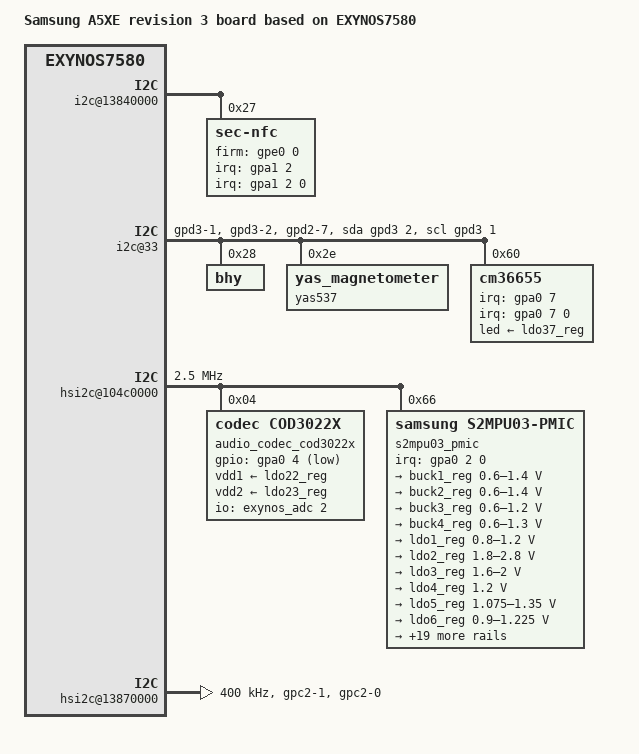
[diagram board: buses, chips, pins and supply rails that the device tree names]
/*
 * SAMSUNG A5XE board device tree source
 *
 * Copyright (c) 2014 Samsung Electronics Co., Ltd.
 *		http://www.samsung.com
 *
 * This program is free software; you can redistribute it and/or modify
 * it under the terms of the GNU General Public License version 2 as
 * published by the Free Software Foundation.
 */

/dts-v1/;
#include "exynos7580-reserve-2000MB-Ax_01.dtsi"
#include "exynos7580-a5xelte_common.dtsi"
#include "modem-carmen2-reserve-2000MB.dtsi"
#include "exynos7580-a5xelte_battery_02.dtsi"
#include "exynos7580-a5xelte_kor_skt_gpio_03.dtsi"
#include "exynos7580-a5xelte_fingerprint-sensor_00.dtsi"
#include "exynos7580-a5xelte_mst_00.dtsi"
#include "exynos7580-a5xelte_kor-tdmb_00.dtsi"

/ {
	model = "Samsung A5XE revision 3 board based on EXYNOS7580";
	model_info-chip = <7580>;
	model_info-platform = "android";
	model_info-subtype = "samsung";
	model_info-hw_rev = <3>;
	model_info-hw_rev_end = <3>;
	compatible = "samsung,exynos7580-universal7580,r01", "samsung,exynos7580";

	pinctrl@139C0000 {
		optical: optical {
			samsung,pins = "gpd3-1", "gpd3-2";
			samsung,pin-function = <0>;
			samsung,pin-pud = <0>;
			samsung,pin-drv = <0>;
		};
		cfg_i2c: cfg-i2c {
			samsung,pins = "gpd2-0", "gpd2-1";
			samsung,pin-function = <2>;
			samsung,pin-pud = <0>;
			samsung,pin-drv = <0>;
		};
		cfg_gpio: cfg-gpio {
			samsung,pins = "gpd2-0", "gpd2-1";
			samsung,pin-function = <0>;
			samsung,pin-pud = <0>;
			samsung,pin-drv = <0>;
		};
		sensor_pwr_en: sensor_pwr_en {
			samsung,pins = "gpd2-7";
			samsung,pin-function = <1>;
			samsung,pin-pud = <3>;
			samsung,pin-drv = <0>;
			samsung,pin-val = <1>;
		};
		/* Warm reset information from AP */
		pm_wrsti: pm-wrsti {
			samsung,pins = "gpe1-0";
			samsung,pin-con-pdn = <3>;
		};
		spk_amp_i2c: spk-amp-i2c {
			samsung,pins = "gpc2-1", "gpc2-0";
			samsung,pin-function = <2>;
			samsung,pin-pud = <0>;
		};
	};

	i2c@13840000 {
		status = "okay";
		samsung,i2c-sda-delay = <100>;
		samsung,i2c-max-bus-freq = <300000>;
		sec-nfc@27 {
			compatible = "sec-nfc";
			reg = <0x27>;
			interrupts = <2 0 0>;
			interrupt-parent = <&gpa1>;
			sec-nfc,nfc_pd = <&gpc3 2 0x2>;
			sec-nfc,firm-gpio = <&gpe0 0 0>;
			sec-nfc,irq-gpio = <&gpa1 2 0>;
			clkctrl-reg = <0x1046600C>;
			sec-nfc,nfc_clkreq = <&gpc3 3 0x2>;
			sec-nfc,i2c_1p8 = "ldo39";
			pinctrl-names = "default";
			pinctrl-0 = <&nfc_n5_firm &nfc_n5_clk_req &nfc_pd &nfc_int &ese_pwr_en>;
		};
	};

	i2c@33 {
		compatible = "i2c-gpio";
		gpios = <&gpd3 2 0 	/* sda */
			&gpd3 1 0>;	/* scl */

		pinctrl-names = "default";
		pinctrl-0 = <&optical &sensor_pwr_en>;
		i2c-gpio,delay-us = <2>;
		i2c-gpio,scl-output-only;
		#address-cells = <1>;
		#size-cells = <0>;
		status = "okay";

		bhy@28 {
			compatible = "bhy";
			pinctrl-names = "default";
			pinctrl-0 = <&bhy_int>;
			bhy,gpio_irq = <&gpa3 0 0x00>;
			bhy,ldo_enable = <&gpd2 7 0x01>;
			reg = <0x28>;
		};

		yas537@2e {
			compatible = "yas_magnetometer";
			reg = <0x2e>;
			yas,orientation = <1>;
			yas,softiron = <10175 594 149 1084 8422 129 79 320 10227>;
			yas,softiron_sign = <2 2 0 2 2 0 2 0 2>;
		};

		cm36655@60 {
			compatible = "cm36655";
			reg = <0x60>;
			pinctrl-names = "dafault";
			pinctrl-0 = <&ps_als &leden_gpio>;
			interrupt-parent = <&gpa0>;
			interrupts = <7 0 0>;
			cm36655,led-supply = <&ldo37_reg>;
			cm36655,irq_gpio = <&gpa0 7 0x00>;
			cm36655,pwr_en = <&gpd2 3 0x01>;
			cm36655,default_hi_thd = <18>;
			cm36655,default_low_thd = <13>;
			cm36655,cancel_hi_thd = <10>;
			cm36655,cancel_low_thd = <7>;
			cm36655,trim = <0x0003>;
		};
	};

	hsi2c@104c0000 {
		status = "okay";
		samsung,hs-mode;
		clock-frequency = <2500000>;
		samsung,hsi2c-batcher;
		#address-cells = <1>;
		#size-cells = <0>;

		audio_codec_cod3022x: cod3022x@04 {
			compatible = "codec,cod3022x";
			reg = <0x04>;
			ten-bit-address;
			vdd1-supply = <&ldo22_reg>;
			vdd2-supply = <&ldo23_reg>;
			pinctrl-names = "default";
			pinctrl-0 = <&cod3022_irq>;
			interrupt-parent = <&gpa0>;
			gpios = <&gpa0 4 0xf>;
			/* Mic Bias: 0->2.1v, 1->2.5v, 2->2.6v, 3->3.0v */
			mic-bias1-voltage = <1>;
			mic-bias2-voltage = <1>;
			use-btn-adc-mode;
			io-channels = <&exynos_adc 2>;
			io-channel-names = "adc-jack";
			#io-channel-cells = <1>;
			io-channel-ranges;
			but-zones-list = <&but_zones 226 0 240>, /* send/end */
					<&but_zones 582 241 315>, /* google */
					<&but_zones 115 316 520>, /* vol up */
					<&but_zones 114 521 900>; /* vol down */
			mic-adc-range = <1380>;
			btn-release-value = <1000>;
			mic-det-delay = <50>;
		};

		s2mpu03_pmic@66 {
			compatible = "samsung,s2mpu03-pmic";
			reg = <0x66>;
			ten-bit-address;
			interrupts = <2 0 0>;
			interrupt-parent = <&gpa0>;
			pinctrl-names = "default";
			pinctrl-0 = <&pmic_irq &pm_wrsti>;
			g3d_en = <1>; /* 1 : enable , 0 : disable */
			/*
			buck4en_pin = "etc1-3";
			buck4en_addr = "1111111.pinctrl";
			*/
			/* RTC: wtsr/smpl */
			wtsr_en = <1>; /* enable */
			smpl_en = <1>; /* enable */
			wtsr_timer_val = <3>;   /* 1000ms */
			smpl_timer_val = <0>;   /* 100ms */
			check_jigon = <0>; /* do not check jigon */
			/* RTC: If it's first boot, reset rtc to 1/1/2015 12:00:00(Thu) */
			init_time,sec = <0>;
			init_time,min = <0>;
			init_time,hour = <12>;
			init_time,mday = <1>;
			init_time,mon = <0>;
			init_time,year = <115>;
			init_time,wday = <4>;

			regulators {
				buck1_reg: BUCK1 {
					regulator-name = "cpu-cluster.1";
					regulator-min-microvolt = <600000>;
					regulator-max-microvolt = <1400000>;
					regulator-always-on;
					regulator-boot-on;
					regulator-ramp-delay = <12000>;
					regulator-initial-mode = <1>;
				};

				buck2_reg: BUCK2 {
					regulator-name = "cpu-cluster.0";
					regulator-min-microvolt = <600000>;
					regulator-max-microvolt = <1400000>;
					regulator-always-on;
					regulator-boot-on;
					regulator-ramp-delay = <12000>;
					regulator-initial-mode = <1>;
				};

				buck3_reg: BUCK3 {
					regulator-name = "vdd_intmif";
					regulator-min-microvolt = <600000>;
					regulator-max-microvolt = <1200000>;
					regulator-always-on;
					regulator-boot-on;
					regulator-ramp-delay = <12000>;
					regulator-initial-mode = <1>;
				};

				buck4_reg: BUCK4 {
					regulator-name = "vdd_g3d";
					regulator-min-microvolt = <600000>;
					regulator-max-microvolt = <1300000>;
					regulator-always-on;
					regulator-boot-on;
					regulator-ramp-delay = <12000>;
					regulator-initial-mode = <1>;
				};

				ldo1_reg: LDO1 {
					regulator-name = "vdd_ldo1";
					regulator-min-microvolt = <800000>;
					regulator-max-microvolt = <1200000>;
					regulator-always-on;
					regulator-ramp-delay = <12000>;
					regulator-initial-mode = <3>;
				};

				ldo2_reg: LDO2 {
					regulator-name = "vqmmc";
					regulator-min-microvolt = <1800000>;
					regulator-max-microvolt = <2800000>;
					regulator-boot-on;
					regulator-ramp-delay = <12000>;
					regulator-initial-mode = <1>;
				};

				ldo3_reg: LDO3 {
					regulator-name = "vdd_ldo3";
					regulator-min-microvolt = <1600000>;
					regulator-max-microvolt = <2000000>;
					regulator-boot-on;
					regulator-always-on;
					regulator-ramp-delay = <12000>;
					regulator-initial-mode = <3>;
				};

				ldo4_reg: LDO4 {
					regulator-name = "vdd_ldo4";
					regulator-min-microvolt = <1200000>;
					regulator-max-microvolt = <1200000>;
					regulator-boot-on;
					regulator-always-on;
					regulator-ramp-delay = <12000>;
					regulator-initial-mode = <1>;
				};

				ldo5_reg: LDO5 {
					regulator-name = "vdd_ldo5";
					regulator-min-microvolt = <1075000>;
					regulator-max-microvolt = <1350000>;
					regulator-boot-on;
					regulator-always-on;
					regulator-ramp-delay = <12000>;
					regulator-initial-mode = <3>;
				};

				ldo6_reg: LDO6 {
					regulator-name = "vdd_ldo6";
					regulator-min-microvolt = <900000>;
					regulator-max-microvolt = <1225000>;
					regulator-boot-on;
					regulator-always-on;
					regulator-ramp-delay = <12000>;
					regulator-initial-mode = <1>;
				};

				ldo7_reg: LDO7 {
					regulator-name = "vdd_ldo7";
					regulator-min-microvolt = <1600000>;
					regulator-max-microvolt = <2000000>;
					regulator-boot-on;
					regulator-always-on;
					regulator-initial-mode = <1>;
				};

				ldo8_reg: LDO8 {
					regulator-name = "vdd_ldo8";
					regulator-min-microvolt = <3300000>;
					regulator-max-microvolt = <3300000>;
					regulator-boot-on;
					regulator-always-on;
					regulator-initial-mode = <1>;
				};

				ldo10_reg: LDO10 {
					regulator-name = "vdd_ldo10";
					regulator-min-microvolt = <800000>;
					regulator-max-microvolt = <1350000>;
					regulator-always-on;
					regulator-initial-mode = <1>;
				};

				ldo22_reg: LDO22 {
					regulator-name = "codec_ldo22";
					regulator-min-microvolt = <1000000>;
					regulator-max-microvolt = <2375000>;
					regulator-initial-mode = <3>;
				};

				ldo23_reg: LDO23 {
					regulator-name = "codec_ldo23";
					regulator-min-microvolt = <1000000>;
					regulator-max-microvolt = <2375000>;
					regulator-initial-mode = <3>;
				};

				ldo26_reg: LDO26 {
					regulator-name = "vmmc";
					regulator-min-microvolt = <2800000>;
					regulator-max-microvolt = <2800000>;
					regulator-boot-on;
					regulator-initial-mode = <1>;
				};

				ldo27_reg: LDO27 {
					regulator-name = "VDDIO_1.8V_CAM";
					regulator-min-microvolt = <1800000>;
					regulator-max-microvolt = <1800000>;
					regulator-initial-mode = <0>;
				};

				ldo28_reg: LDO28 {
					regulator-name = "vtouch_2.8v";
					regulator-min-microvolt = <2800000>;
					regulator-max-microvolt = <2800000>;
					regulator-boot-on;
				};

				ldo29_reg: LDO29 {
					regulator-name = "vtouch_3.3v";
					regulator-min-microvolt = <3300000>;
					regulator-max-microvolt = <3300000>;
					regulator-boot-on;
				};

				ldo30_reg: LDO30 {
					regulator-name = "LCD_3P0";
					regulator-min-microvolt = <3000000>;
					regulator-max-microvolt = <3000000>;
					regulator-boot-on;
					regulator-initial-mode = <3>;
				};

				ldo31_reg: LDO31 {
					regulator-name = "LCD_1P8";
					regulator-min-microvolt = <1800000>;
					regulator-max-microvolt = <1800000>;
					regulator-boot-on;
					regulator-initial-mode = <3>;
				};

				ldo32_reg: LDO32 {
					regulator-name = "VDD_VTCAM_1P2";
					regulator-min-microvolt = <1250000>;
					regulator-max-microvolt = <1250000>;
					regulator-initial-mode = <0>;
				};

				ldo33_reg: LDO33 {
					regulator-name = "tsp_avdd";
					regulator-min-microvolt = <3300000>;
					regulator-max-microvolt = <3300000>;
				};

				ldo34_reg: LDO34 {
					regulator-name = "VDD_MOTOR_3P3";
					regulator-min-microvolt = <3300000>;
					regulator-max-microvolt = <3300000>;
				};

				ldo35_reg: LDO35 {
					regulator-name = "VDD_CAM_SENSOR_A2P8";
					regulator-min-microvolt = <2800000>;
					regulator-max-microvolt = <2800000>;
					regulator-initial-mode = <0>;
				};

				ldo36_reg: LDO36 {
					regulator-name = "VDD_CAM_1P2";
					regulator-min-microvolt = <1250000>;
					regulator-max-microvolt = <1250000>;
					regulator-initial-mode = <0>;
				};

				ldo37_reg: LDO37 {
					regulator-name = "ldo37";
					regulator-min-microvolt = <3300000>;
					regulator-max-microvolt = <3300000>;
					regulator-initial-mode = <0>;
				};

				ldo38_reg: LDO38 {
					regulator-name = "ldo38";
					regulator-min-microvolt = <2800000>;
					regulator-max-microvolt = <2800000>;
					regulator-always-on;
					regulator-initial-mode = <1>;
				};

				ldo39_reg: LDO39 {
					regulator-name = "ldo39";
					regulator-min-microvolt = <1800000>;
					regulator-max-microvolt = <1800000>;
					regulator-initial-mode = <3>;
				};
			};
		};
	};

	hsi2c@13870000 {
		status = "okay";
		/*samsung,hs-mode;*/
		clock-frequency = <400000>;
		#address-cells = <1>;
		#size-cells = <0>;
		pinctrl-names = "default";
		pinctrl-0 = <&spk_amp_i2c>;
	};

	pinctrl@139C0000 {
		uart0_rts: uart0-rts {
			samsung,pins = "gpb0-7";
			samsung,pin-function = <2>;
			samsung,pin-pud = <1>;
			samsung,pin-con-pdn = <3>;
			samsung,pin-pud-pdn = <1>;
		};

		uart0_cts: uart0-cts {
			samsung,pins = "gpb0-6";
			samsung,pin-function = <2>;
			samsung,pin-pud = <1>;
			samsung,pin-con-pdn = <3>;
			samsung,pin-pud-pdn = <1>;
		};

		uart0_tx: uart0-tx {
			samsung,pins = "gpb0-5";
			samsung,pin-function = <2>;
			samsung,pin-pud = <3>;
			samsung,pin-con-pdn = <3>;
			samsung,pin-pud-pdn = <3>;
		};

		uart0_rx: uart0-rx {
			samsung,pins = "gpb0-4";
			samsung,pin-function = <2>;
			samsung,pin-pud = <3>;
			samsung,pin-con-pdn = <3>;
			samsung,pin-pud-pdn = <3>;
		};
	};

	mif_pdata {
		pinctrl-names = "default";
		pinctrl-0 = <&cp_rst_n &ds_det>;

		/* To do: will be remove, for system revision */
		gpios = <&gpd0 0 0x0>,
		       <&gpd0 1 0x0>,
		       <&gpd0 2 0x0>,
		       <&gpd0 3 0x0>;

		modem_ctrl,gpio_cp_rst_n = <&gpe0 6 0x1>;
		mif,gpio_ds_det = <&gpd0 4 0x0>;

		mif,ap_clk_table = <
			/* khz */
			1600000
			1500000
			1400000
			1300000
			1200000
			1100000
			1000000
			900000
			800000
			700000
			600000
			500000
			400000
			300000
			>;

		mif,mif_clk_table = <
			/* khz */
			825000
			728000
			667000
			559000
			416000
			338000
			273000
			200000
			>;
	};

	pinctrl@139C0000 {
		ds_det: ds_det {
			samsung,pins = "gpd0-4";
			samsung,pin-function = <0>;	/* INPUT */
			samsung,pin-pud = <0>;
			samsung,pin-con-pdn = <3>;	/* PREV STATE */
			samsung,pin-pud-pdn = <0>;
		};

		cp_rst_n: cp_rst_n {
			samsung,pins = "gpe0-6";
			samsung,pin-function = <1>;	/* OUTPUT */
			samsung,pin-pud = <0>;		/* PU & PD DISABLE */
			samsung,pin-con-pdn = <1>;	/* OUTPUT 1 */
			samsung,pin-pud-pdn = <0>;	/* PU & PD DISABLE */
		};

		leden_gpio: leden_gpio {
			samsung,pins = "gpd2-3";
			samsung,pin-function = <1>;
			samsung,pin-pud = <0>;
			samsung,pin-val = <1>;
		};
	};
};
